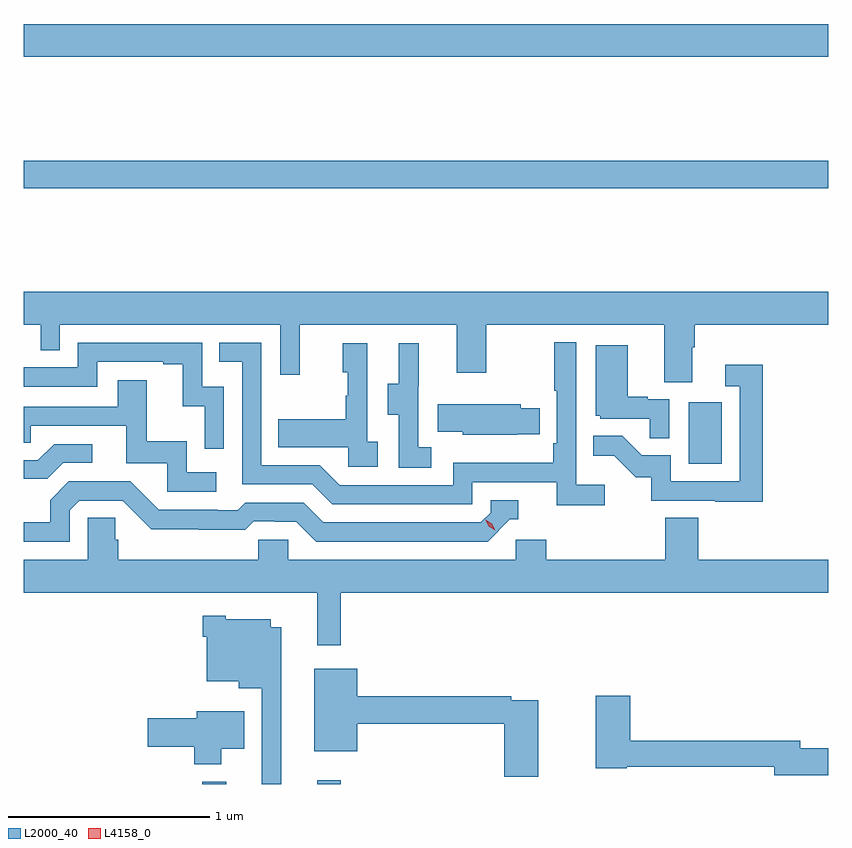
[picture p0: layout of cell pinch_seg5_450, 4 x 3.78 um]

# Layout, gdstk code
import gdstk
lib = gdstk.Library(unit=1e-6, precision=1e-09)
def R(c, l, rs):  # rectangles x0, y0, x1, y1
    for r in rs: c.add(gdstk.rectangle(r[:2], r[2:], *l))
def P(c, l, *ps):  # polygons
    for p in ps: c.add(gdstk.Polygon(p, *l))
L2000_40 = (2000, 40)
L4158_0 = (4158, 0)

pinch_seg5_450 = lib.new_cell('pinch_seg5_450')
R(pinch_seg5_450, L2000_40, [(922.849,862.468,922.967,862.48), (923.42,862.468,923.537,862.486), (925.268,864.06,925.432,864.367), (921.961,865.432,925.961,865.568), (921.961,866.084,925.961,866.248)])
P(pinch_seg5_450, L2000_40, [(925.285,864.64),(925.298,864.64),(925.298,864.752),(925.961,864.752),(925.961,864.916),(921.961,864.916),(921.961,864.752),(922.044,864.752),(922.044,864.625),(922.14,864.625),(922.14,864.752),(923.235,864.752),(923.235,864.504),(923.333,864.504),(923.333,864.752),(924.113,864.752),(924.113,864.513),(924.261,864.513),(924.261,864.752),(925.145,864.752),(925.145,864.466),(925.285,864.466)],
  [(924.85,863.956),(924.708,863.956),(924.708,864.664),(924.6,864.664),(924.6,864.424),(924.612,864.424),(924.612,864.163),(924.595,864.163),(924.595,864.067),(924.096,864.067),(924.096,863.955),(923.532,863.955),(923.433,864.054),(923.142,864.054),(923.142,864.663),(922.933,864.663),(922.933,864.567),(923.046,864.567),(923.046,863.958),(923.396,863.958),(923.495,863.859),(924.192,863.859),(924.192,863.97),(924.611,863.97),(924.611,863.854),(924.85,863.854)],
  [(922.956,864.444),(922.848,864.444),(922.848,864.663),(922.23,864.663),(922.23,864.54),(921.961,864.54),(921.961,864.444),(922.326,864.444),(922.326,864.567),(922.655,864.567),(922.655,864.555),(922.751,864.555),(922.751,864.347),(922.86,864.347),(922.86,864.135),(922.956,864.135)],
  [(923.722,864.17),(923.67,864.17),(923.67,864.661),(923.546,864.661),(923.546,864.516),(923.572,864.516),(923.572,864.398),(923.562,864.398),(923.562,864.283),(923.227,864.283),(923.227,864.143),(923.574,864.143),(923.574,864.045),(923.722,864.045)],
  [(923.986,864.143),(923.922,864.143),(923.922,864.447),(923.924,864.447),(923.924,864.661),(923.825,864.661),(923.825,864.459),(923.771,864.459),(923.771,864.304),(923.826,864.304),(923.826,864.04),(923.986,864.04)],
  [(925.17,864.381),(925.064,864.381),(925.064,864.394),(924.964,864.394),(924.964,864.649),(924.806,864.649),(924.806,864.3),(924.828,864.3),(924.828,864.285),(925.075,864.285),(925.075,864.187),(925.17,864.187)],
  [(925.637,864.553),(925.449,864.553),(925.449,864.447),(925.521,864.447),(925.521,863.973),(925.179,863.973),(925.179,864.102),(925.035,864.102),(924.937,864.2),(924.793,864.2),(924.793,864.101),(924.897,864.101),(925.004,863.994),(925.081,863.994),(925.081,863.877),(925.399,863.877),(925.399,863.872),(925.637,863.872)],
  [(922.918,864.018),(922.77,864.018),(922.77,864.172),(922.571,864.172),(922.571,864.475),(922.427,864.475),(922.427,864.345),(921.961,864.345),(921.961,864.165),(921.995,864.165),(921.995,864.249),(922.469,864.249),(922.469,864.063),(922.674,864.063),(922.674,863.922),(922.918,863.922)],
  [(924.416,864.207),(924.527,864.207),(924.527,864.336),(924.433,864.336),(924.433,864.358),(924.019,864.358),(924.019,864.221),(924.144,864.221),(924.144,864.206),(924.416,864.206)],
  [(922.158,864.066),(922.3,864.066),(922.3,864.159),(922.112,864.159),(922.031,864.078),(921.961,864.078),(921.961,863.986),(922.078,863.986)],
  [(922.188,863.829),(922.236,863.877),(922.452,863.877),(922.594,863.735),(922.83,863.735),(922.83,863.733),(923.063,863.733),(923.105,863.775),(923.208,863.775),(923.208,863.772),(923.315,863.772),(923.414,863.673),(924.267,863.673),(924.378,863.784),(924.421,863.784),(924.421,863.88),(924.282,863.88),(924.282,863.817),(924.234,863.769),(923.451,863.769),(923.352,863.868),(923.063,863.868),(923.024,863.829),(922.925,863.829),(922.925,863.832),(922.632,863.832),(922.491,863.973),(922.185,863.973),(922.091,863.879),(922.091,863.769),(921.961,863.769),(921.961,863.673),(922.188,863.673)],
  [(923.537,863.42),(925.961,863.42),(925.961,863.584),(925.316,863.584),(925.316,863.792),(925.151,863.792),(925.151,863.584),(924.56,863.584),(924.56,863.682),(924.408,863.682),(924.408,863.584),(923.277,863.584),(923.277,863.682),(923.127,863.682),(923.127,863.584),(922.43,863.584),(922.43,863.682),(922.415,863.682),(922.415,863.792),(922.278,863.792),(922.278,863.584),(921.961,863.584),(921.961,863.42),(923.419,863.42),(923.419,863.157),(923.537,863.157)],
  [(923.242,863.248),(923.188,863.248),(923.188,863.287),(922.965,863.287),(922.965,863.305),(922.85,863.305),(922.85,863.201),(922.871,863.201),(922.871,862.979),(923.03,862.979),(923.03,862.943),(923.145,862.943),(923.145,862.468),(923.242,862.468)],
  [(924.52,862.884),(924.386,862.884),(924.386,862.904),(923.62,862.904),(923.62,863.041),(923.405,863.041),(923.405,862.631),(923.62,862.631),(923.62,862.768),(924.35,862.768),(924.35,862.503),(924.52,862.503)],
  [(925.961,862.646),(925.822,862.646),(925.822,862.682),(924.977,862.682),(924.977,862.906),(924.806,862.906),(924.806,862.546),(924.96,862.546),(924.96,862.554),(925.694,862.554),(925.694,862.511),(925.961,862.511)],
  [(922.942,862.643),(923.056,862.643),(923.056,862.831),(922.82,862.831),(922.82,862.796),(922.578,862.796),(922.578,862.654),(922.808,862.654),(922.808,862.565),(922.942,862.565)])
P(pinch_seg5_450, L4158_0, [(924.305,863.731),(924.274,863.75),(924.257,863.782),(924.257,863.783),(924.258,863.783),(924.289,863.763),(924.305,863.731),(924.305,863.731)])

lib.write_gds('pinch_seg5_450.gds')
